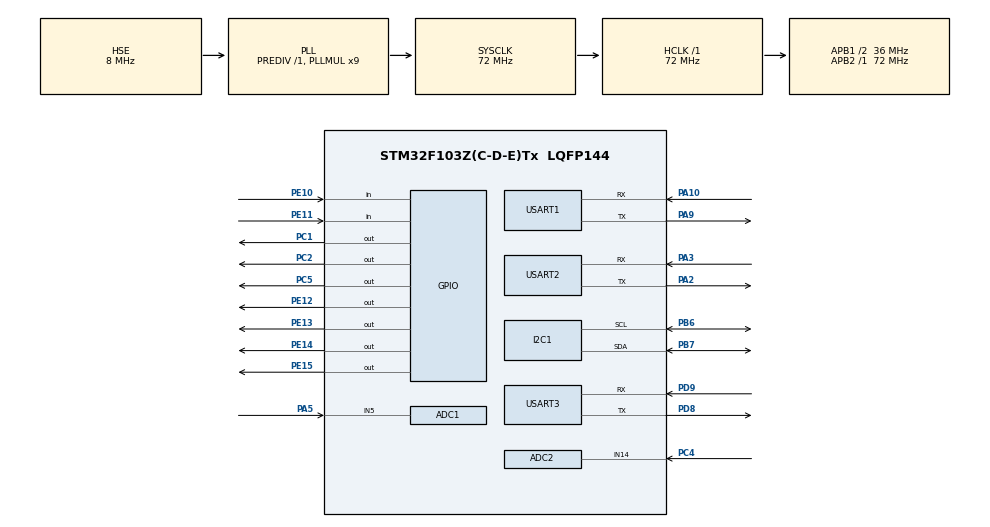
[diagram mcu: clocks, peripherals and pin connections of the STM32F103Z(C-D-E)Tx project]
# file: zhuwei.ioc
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ADC1.Channel-0\#ChannelRegularConversion=ADC_CHANNEL_5
ADC1.ContinuousConvMode=ENABLE
ADC1.NbrOfConversionFlag=1
ADC1.Rank-0\#ChannelRegularConversion=1
ADC1.SamplingTime-0\#ChannelRegularConversion=ADC_SAMPLETIME_1CYCLE_5
ADC1.master=1
ADC2.Channel-0\#ChannelRegularConversion=ADC_CHANNEL_14
ADC2.ContinuousConvMode=ENABLE
ADC2.NbrOfConversionFlag=1
ADC2.Rank-0\#ChannelRegularConversion=1
ADC2.SamplingTime-0\#ChannelRegularConversion=ADC_SAMPLETIME_1CYCLE_5
Dma.ADC1.0.Direction=DMA_PERIPH_TO_MEMORY
Dma.ADC1.0.Instance=DMA1_Channel1
Dma.ADC1.0.MemDataAlignment=DMA_MDATAALIGN_HALFWORD
Dma.ADC1.0.MemInc=DMA_MINC_ENABLE
Dma.ADC1.0.Mode=DMA_CIRCULAR
Dma.ADC1.0.PeriphDataAlignment=DMA_PDATAALIGN_HALFWORD
Dma.ADC1.0.PeriphInc=DMA_PINC_DISABLE
Dma.ADC1.0.Priority=DMA_PRIORITY_LOW
Dma.Request0=ADC1
Mcu.Family=STM32F1
Mcu.Name=STM32F103Z(C-D-E)Tx
Mcu.Package=LQFP144
NVIC.DMA1_Channel1_IRQn=true\:0\:0\:false\:false\:true\:false
NVIC.PriorityGroup=NVIC_PRIORITYGROUP_4
NVIC.USART1_IRQn=true\:0\:0\:false\:false\:true\:true
NVIC.USART2_IRQn=true\:0\:0\:false\:false\:true\:true
NVIC.USART3_IRQn=true\:0\:0\:false\:false\:true\:true
OSC_IN.Mode=HSE-External-Oscillator
OSC_IN.Signal=RCC_OSC_IN
OSC_OUT.Mode=HSE-External-Oscillator
OSC_OUT.Signal=RCC_OSC_OUT
PA10.Mode=Asynchronous
PA10.Signal=USART1_RX
PA2.Mode=Asynchronous
PA2.Signal=USART2_TX
PA3.Mode=Asynchronous
PA3.Signal=USART2_RX
PA5.Signal=ADCx_IN5
PA9.Mode=Asynchronous
PA9.Signal=USART1_TX
PB6.Mode=I2C
PB6.Signal=I2C1_SCL
PB7.Mode=I2C
PB7.Signal=I2C1_SDA
PC1.GPIO_ModeDefaultOutputPP=GPIO_MODE_OUTPUT_OD
PC1.Signal=GPIO_Output
PC2.GPIO_ModeDefaultOutputPP=GPIO_MODE_OUTPUT_OD
PC2.Signal=GPIO_Output
PC4.Signal=ADCx_IN14
PC5.Signal=GPIO_Output
PD8.Mode=Asynchronous
PD8.Signal=USART3_TX
PD9.Mode=Asynchronous
PD9.Signal=USART3_RX
PE10.Signal=GPIO_Input
PE11.Signal=GPIO_Input
PE12.Signal=GPIO_Output
PE13.Signal=GPIO_Output
PE14.Signal=GPIO_Output
PE15.Signal=GPIO_Output
ProjectManager.HeapSize=0x200
ProjectManager.StackSize=0x400
ProjectManager.TargetToolchain=MDK-ARM V5
RCC.ADCPresc=RCC_ADCPCLK2_DIV6
RCC.AHBFreq_Value=72000000
RCC.APB1CLKDivider=RCC_HCLK_DIV2
RCC.APB1Freq_Value=36000000
RCC.APB1TimFreq_Value=72000000
RCC.APB2Freq_Value=72000000
RCC.APB2TimFreq_Value=72000000
RCC.HCLKFreq_Value=72000000
RCC.PLLMUL=RCC_PLL_MUL9
RCC.PLLSourceVirtual=RCC_PLLSOURCE_HSE
RCC.SYSCLKFreq_VALUE=72000000
RCC.SYSCLKSource=RCC_SYSCLKSOURCE_PLLCLK
RCC.USBFreq_Value=72000000
SH.ADCx_IN14.0=ADC2_IN14,IN14
SH.ADCx_IN5.0=ADC1_IN5,IN5
TIM7.AutoReloadPreload=TIM_AUTORELOAD_PRELOAD_ENABLE
TIM7.Period=65535
TIM7.Prescaler=72
USART1.VirtualMode=VM_ASYNC
USART2.VirtualMode=VM_ASYNC
USART3.VirtualMode=VM_ASYNC
VP_SYS_VS_ND.Mode=No_Debug
VP_TIM7_VS_ClockSourceINT.Mode=Enable_Timer
board=custom

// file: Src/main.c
/* USER CODE BEGIN Header */
/**
  ******************************************************************************
  * @file           : main.c
  * @brief          : Main program body
  ******************************************************************************
  ** This notice applies to any and all portions of this file
  * that are not between comment pairs USER CODE BEGIN and
  * USER CODE END. Other portions of this file, whether
  * inserted by the user or by software development tools
  * are owned by their respective copyright owners.
  *
  * COPYRIGHT(c) 2019 STMicroelectronics
  *
  * Redistribution and use in source and binary forms, with or without modification,
  * are permitted provided that the following conditions are met:
  *   1. Redistributions of source code must retain the above copyright notice,
  *      this list of conditions and the following disclaimer.
  *   2. Redistributions in binary form must reproduce the above copyright notice,
  *      this list of conditions and the following disclaimer in the documentation
  *      and/or other materials provided with the distribution.
  *   3. Neither the name of STMicroelectronics nor the names of its contributors
  *      may be used to endorse or promote products derived from this software
  *      without specific prior written permission.
  *
  * THIS SOFTWARE IS PROVIDED BY THE COPYRIGHT HOLDERS AND CONTRIBUTORS "AS IS"
  * AND ANY EXPRESS OR IMPLIED WARRANTIES, INCLUDING, BUT NOT LIMITED TO, THE
  * IMPLIED WARRANTIES OF MERCHANTABILITY AND FITNESS FOR A PARTICULAR PURPOSE ARE
  * DISCLAIMED. IN NO EVENT SHALL THE COPYRIGHT HOLDER OR CONTRIBUTORS BE LIABLE
  * FOR ANY DIRECT, INDIRECT, INCIDENTAL, SPECIAL, EXEMPLARY, OR CONSEQUENTIAL
  * DAMAGES (INCLUDING, BUT NOT LIMITED TO, PROCUREMENT OF SUBSTITUTE GOODS OR
  * SERVICES; LOSS OF USE, DATA, OR PROFITS; OR BUSINESS INTERRUPTION) HOWEVER
  * CAUSED AND ON ANY THEORY OF LIABILITY, WHETHER IN CONTRACT, STRICT LIABILITY,
  * OR TORT (INCLUDING NEGLIGENCE OR OTHERWISE) ARISING IN ANY WAY OUT OF THE USE
  * OF THIS SOFTWARE, EVEN IF ADVISED OF THE POSSIBILITY OF SUCH DAMAGE.
  *
  ******************************************************************************
  */
/* USER CODE END Header */

#include "main.h"
#include "adc.h"
#include "dma.h"
#include "i2c.h"
#include "tim.h"
#include "usart.h"
#include "gpio.h"

/* USER CODE BEGIN Includes */
#include <string.h>
#include "dht11.h"
#include "GY-30.h"
/* USER CODE END Includes */

/* USER CODE BEGIN PV */
uint8_t ADC_value = 0;
__IO uint16_t ADC_ConvertedValue[12];

/* USER CODE END PV */

void SystemClock_Config(void);

int main(void)
{

  /* MCU Configuration--------------------------------------------------------*/

  /* Reset of all peripherals, Initializes the Flash interface and the Systick. */
  HAL_Init();

  /* Configure the system clock */
  SystemClock_Config();

  /* Initialize all configured peripherals */
  MX_GPIO_Init();
  MX_DMA_Init();
  MX_ADC1_Init();
  MX_USART1_UART_Init();
  MX_USART2_UART_Init();
  MX_USART3_UART_Init();
  MX_TIM7_Init();
  MX_I2C1_Init();
  MX_ADC2_Init();
  /* USER CODE BEGIN 2 */
	//初始化光强
	Init_BH1750();
	//初始化温湿度
	DHT11_Init();
	//开启PM2.5 ADC
	if(HAL_ADC_Start_DMA(&hadc1,(uint32_t*)&ADC_ConvertedValue[0],12)!=HAL_OK){
		 Error_Handler();
	}
	//开启气体ADC
	HAL_ADC_Start(&hadc2);
	HAL_ADC_PollForConversion(&hadc2,50);
  /* USER CODE END 2 */

  /* Infinite loop */
  /* USER CODE BEGIN WHILE */

  while (1)
  {
		uint8_t str[2+2+1+6+4+4+2]={0};
		DHT11_Data_TypeDef temp_humi={0};
		//获取火光
		uint8_t fire = !HAL_GPIO_ReadPin(GPIOE,GPIO_PIN_10);
		//获取PM2.5
		unsigned int i = 0;
		float	ADC_Value = 0;
		HAL_GPIO_WritePin(GPIOC,GPIO_PIN_5,0);
		delay_us(280);

		for(i = 0; i < 12; ++i)
		{
			ADC_Value += ADC_ConvertedValue[i];
		}
		delay_us(40);
		HAL_GPIO_WritePin(GPIOC,GPIO_PIN_5,1);
		delay_us(9680);
		ADC_Value = ((ADC_Value/1024)-0.0356)*120000*0.035-185000;

		//读取烟雾
		uint16_t gas = HAL_ADC_GetValue(&hadc2);
		//读取温湿度
		DHT11_Read_TempAndHumidity(&temp_humi);
		//读取光强
		float light = Value_GY30();
		//格式化数据
		sprintf(str,"%2d%2d%d%4.1f%4d%4d\n",(int)temp_humi.temperature,(int)temp_humi.humidity,fire,ADC_Value,(int)light,gas);
		//串口显示
		HAL_UART_Transmit(&huart1,str,sizeof(str),10);

		//如果烟雾大于1400，开风扇
		if(gas>1400)
			HAL_GPIO_WritePin(GPIOE,GPIO_PIN_12,0);
		else
			HAL_GPIO_WritePin(GPIOE,GPIO_PIN_12,1);
		//发生火灾，蜂鸣器报警
		if(fire)
			HAL_GPIO_WritePin(GPIOE,GPIO_PIN_13,0);
		else
			HAL_GPIO_WritePin(GPIOE,GPIO_PIN_13,1);
		//每1s发送一次
		HAL_Delay(1000);
    /* USER CODE END WHILE */

  }
}

void SystemClock_Config(void)
{
  RCC_OscInitTypeDef RCC_OscInitStruct = {0};
  RCC_ClkInitTypeDef RCC_ClkInitStruct = {0};
  RCC_PeriphCLKInitTypeDef PeriphClkInit = {0};

  /**Initializes the CPU, AHB and APB busses clocks
  */
  RCC_OscInitStruct.OscillatorType = RCC_OSCILLATORTYPE_HSE;
  RCC_OscInitStruct.HSEState = RCC_HSE_ON;
  RCC_OscInitStruct.HSEPredivValue = RCC_HSE_PREDIV_DIV1;
  RCC_OscInitStruct.HSIState = RCC_HSI_ON;
  RCC_OscInitStruct.PLL.PLLState = RCC_PLL_ON;
  RCC_OscInitStruct.PLL.PLLSource = RCC_PLLSOURCE_HSE;
  RCC_OscInitStruct.PLL.PLLMUL = RCC_PLL_MUL9;
  if (HAL_RCC_OscConfig(&RCC_OscInitStruct) != HAL_OK)
  {
    Error_Handler();
  }
  /**Initializes the CPU, AHB and APB busses clocks
  */
  RCC_ClkInitStruct.ClockType = RCC_CLOCKTYPE_HCLK|RCC_CLOCKTYPE_SYSCLK
                              |RCC_CLOCKTYPE_PCLK1|RCC_CLOCKTYPE_PCLK2;
  RCC_ClkInitStruct.SYSCLKSource = RCC_SYSCLKSOURCE_PLLCLK;
  RCC_ClkInitStruct.AHBCLKDivider = RCC_SYSCLK_DIV1;
  RCC_ClkInitStruct.APB1CLKDivider = RCC_HCLK_DIV2;
  RCC_ClkInitStruct.APB2CLKDivider = RCC_HCLK_DIV1;

  if (HAL_RCC_ClockConfig(&RCC_ClkInitStruct, FLASH_LATENCY_2) != HAL_OK)
  {
    Error_Handler();
  }
  PeriphClkInit.PeriphClockSelection = RCC_PERIPHCLK_ADC;
  PeriphClkInit.AdcClockSelection = RCC_ADCPCLK2_DIV6;
  if (HAL_RCCEx_PeriphCLKConfig(&PeriphClkInit) != HAL_OK)
  {
    Error_Handler();
  }
}

void Error_Handler(void)
{
}

/************************ (C) COPYRIGHT STMicroelectronics *****END OF FILE****/
